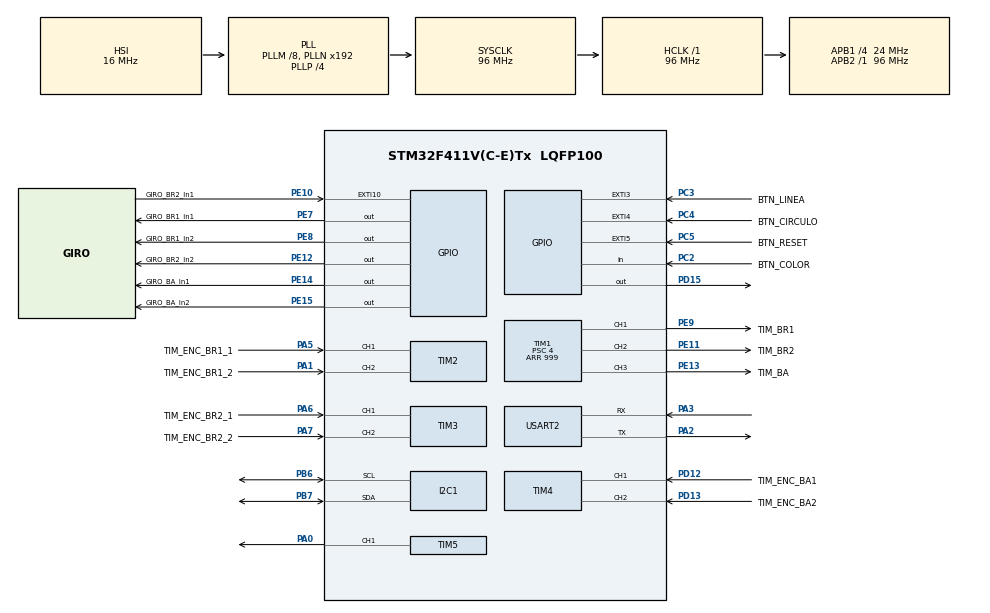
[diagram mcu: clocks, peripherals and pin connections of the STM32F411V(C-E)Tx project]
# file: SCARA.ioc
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Dma.Request0=USART2_TX
Dma.USART2_TX.0.Direction=DMA_MEMORY_TO_PERIPH
Dma.USART2_TX.0.FIFOMode=DMA_FIFOMODE_DISABLE
Dma.USART2_TX.0.Instance=DMA1_Stream6
Dma.USART2_TX.0.MemDataAlignment=DMA_MDATAALIGN_BYTE
Dma.USART2_TX.0.MemInc=DMA_MINC_ENABLE
Dma.USART2_TX.0.Mode=DMA_NORMAL
Dma.USART2_TX.0.PeriphDataAlignment=DMA_PDATAALIGN_BYTE
Dma.USART2_TX.0.PeriphInc=DMA_PINC_DISABLE
Dma.USART2_TX.0.Priority=DMA_PRIORITY_LOW
Mcu.Family=STM32F4
Mcu.Name=STM32F411V(C-E)Tx
Mcu.Package=LQFP100
NVIC.DMA1_Stream6_IRQn=true\:0\:0\:false\:false\:true\:false\:true\:true
NVIC.EXTI3_IRQn=true\:0\:0\:false\:false\:true\:true\:true\:true
NVIC.EXTI4_IRQn=true\:0\:0\:false\:false\:true\:true\:true\:true
NVIC.PriorityGroup=NVIC_PRIORITYGROUP_0
NVIC.TIM1_UP_TIM10_IRQn=true\:0\:0\:false\:false\:true\:true\:true\:true
NVIC.USART2_IRQn=true\:0\:0\:false\:false\:true\:true\:true\:true
PA0-WKUP.Signal=S_TIM5_CH1
PA1.GPIO_Label=TIM_ENC_BR1_2
PA1.Signal=S_TIM2_CH2
PA2.Mode=Asynchronous
PA2.Signal=USART2_TX
PA3.Mode=Asynchronous
PA3.Signal=USART2_RX
PA5.GPIO_Label=TIM_ENC_BR1_1
PA5.Signal=S_TIM2_CH1_ETR
PA6.GPIO_Label=TIM_ENC_BR2_1
PA6.Signal=S_TIM3_CH1
PA7.GPIO_Label=TIM_ENC_BR2_2
PA7.Signal=S_TIM3_CH2
PB6.Mode=I2C
PB6.Signal=I2C1_SCL
PB7.Mode=I2C
PB7.Signal=I2C1_SDA
PC2.GPIO_Label=BTN_COLOR
PC2.GPIO_PuPd=GPIO_PULLUP
PC2.Signal=GPIO_Input
PC3.GPIO_Label=BTN_LINEA
PC3.Signal=GPXTI3
PC4.GPIO_Label=BTN_CIRCULO
PC4.Signal=GPXTI4
PC5.GPIO_Label=BTN_RESET
PC5.Signal=GPXTI5
PD12.GPIO_Label=TIM_ENC_BA1
PD12.Signal=S_TIM4_CH1
PD13.GPIO_Label=TIM_ENC_BA2
PD13.Signal=S_TIM4_CH2
PD15.Signal=GPIO_Output
PE10.GPIO_Label=GIRO_BR2_In1
PE10.Signal=GPXTI10
PE11.GPIO_Label=TIM_BR2
PE11.Signal=S_TIM1_CH2
PE12.GPIO_Label=GIRO_BR2_In2
PE12.Signal=GPIO_Output
PE13.GPIO_Label=TIM_BA
PE13.Signal=S_TIM1_CH3
PE14.GPIO_Label=GIRO_BA_In1
PE14.Signal=GPIO_Output
PE15.GPIO_Label=GIRO_BA_In2
PE15.Signal=GPIO_Output
PE7.GPIO_Label=GIRO_BR1_In1
PE7.Signal=GPIO_Output
PE8.GPIO_Label=GIRO_BR1_In2
PE8.Signal=GPIO_Output
PE9.GPIO_Label=TIM_BR1
PE9.Signal=S_TIM1_CH1
ProjectManager.HeapSize=0x200
ProjectManager.StackSize=0x400
ProjectManager.TargetToolchain=STM32CubeIDE
RCC.48MHZClocksFreq_Value=48000000
RCC.AHBFreq_Value=96000000
RCC.APB1CLKDivider=RCC_HCLK_DIV4
RCC.APB1Freq_Value=24000000
RCC.APB1TimFreq_Value=48000000
RCC.APB2Freq_Value=96000000
RCC.APB2TimFreq_Value=96000000
RCC.CortexFreq_Value=96000000
RCC.HCLKFreq_Value=96000000
RCC.HSE_VALUE=8000000
RCC.HSI_VALUE=16000000
RCC.LSE_VALUE=32768
RCC.PLLI2SM=5
RCC.PLLI2SN=200
RCC.PLLM=8
RCC.PLLP=RCC_PLLP_DIV4
RCC.PLLQ=8
RCC.SYSCLKFreq_VALUE=96000000
RCC.SYSCLKSource=RCC_SYSCLKSOURCE_PLLCLK
RCC.VCOOutputFreq_Value=384000000
SH.S_TIM1_CH1.0=TIM1_CH1,PWM Generation1 CH1
SH.S_TIM1_CH2.0=TIM1_CH2,PWM Generation2 CH2
SH.S_TIM1_CH3.0=TIM1_CH3,PWM Generation3 CH3
SH.S_TIM2_CH1_ETR.0=TIM2_CH1,Encoder_Interface
SH.S_TIM2_CH2.0=TIM2_CH2,Encoder_Interface
SH.S_TIM3_CH1.0=TIM3_CH1,Encoder_Interface
SH.S_TIM3_CH2.0=TIM3_CH2,Encoder_Interface
SH.S_TIM4_CH1.0=TIM4_CH1,Encoder_Interface
SH.S_TIM4_CH2.0=TIM4_CH2,Encoder_Interface
SH.S_TIM5_CH1.0=TIM5_CH1,PWM Generation1 CH1
TIM1.Channel-PWM\ Generation1\ CH1=TIM_CHANNEL_1
TIM1.Channel-PWM\ Generation2\ CH2=TIM_CHANNEL_2
TIM1.Channel-PWM\ Generation3\ CH3=TIM_CHANNEL_3
TIM1.Period=999
TIM1.Prescaler=4
TIM5.Channel-PWM\ Generation1\ CH1=TIM_CHANNEL_1
TIM5.Period=19999
TIM5.Prescaler=47
USART2.VirtualMode=VM_ASYNC
board=STM32F411E-DISCO

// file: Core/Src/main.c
/* USER CODE BEGIN Header */
/**
  ******************************************************************************
  * @file           : main.c
  * @brief          : Main program body
  ******************************************************************************
  * @attention
  *
  * Copyright (c) 2026 STMicroelectronics.
  * All rights reserved.
  *
  * This software is licensed under terms that can be found in the LICENSE file
  * in the root directory of this software component.
  * If no LICENSE file comes with this software, it is provided AS-IS.
  *
  ******************************************************************************
  */
/* USER CODE END Header */
#include "main.h"

/* USER CODE BEGIN Includes */
#include "hri.h" // GESTIÓN DE PANTALLA Y BOTONES
#include "gripper.h" // CONTROL DEL SERVO Y SENSOR HALL
#include "motion.h"
#include "kinematics.h"

/* USER CODE END Includes */

/* USER CODE BEGIN PD */
#define LIENZO_CENTRO_X 150.0f
#define LIENZO_CENTRO_Y 0.0f
/* USER CODE END PD */

I2C_HandleTypeDef hi2c1;

TIM_HandleTypeDef htim1;
TIM_HandleTypeDef htim2;
TIM_HandleTypeDef htim3;
TIM_HandleTypeDef htim4;
TIM_HandleTypeDef htim5;

UART_HandleTypeDef huart2;
DMA_HandleTypeDef hdma_usart2_tx;

/* USER CODE BEGIN PV */
float q4_color_actual = 0.0f;
#define GRIPPER_STOP  1500
#define GRIPPER_SPEED 1650

PID_Controller pidJ1;
PID_Controller pidJ2;
PID_Controller pidZ;

uint32_t tiempoAnterior = 0;

// Variables externas de María - los objetivos que calcula la cinemática
extern volatile float objetivo_q1;
extern volatile float objetivo_q3;
extern volatile float objetivo_z;

/* USER CODE END PV */

void SystemClock_Config(void);
static void MX_GPIO_Init(void);
static void MX_DMA_Init(void);
static void MX_I2C1_Init(void);
static void MX_TIM1_Init(void);
static void MX_TIM2_Init(void);
static void MX_TIM3_Init(void);
static void MX_TIM4_Init(void);
static void MX_TIM5_Init(void);
static void MX_USART2_UART_Init(void);
/* USER CODE BEGIN PFP */
//int Leer_Botones_Accion(void);  //prototipos de funciones necesarias ??
//int Leer_Boton_Reset(void);
/* USER CODE END PFP */

int main(void)
{

  /* MCU Configuration--------------------------------------------------------*/

  /* Reset of all peripherals, Initializes the Flash interface and the Systick. */

  /* Configure the system clock */
  SystemClock_Config();

  /* Initialize all configured peripherals */
  MX_GPIO_Init();
  MX_DMA_Init();
  MX_I2C1_Init();
  MX_TIM1_Init();
  MX_TIM2_Init();
  MX_TIM3_Init();
  MX_TIM4_Init();
  MX_TIM5_Init();
  MX_USART2_UART_Init();
  /* USER CODE BEGIN 2 */

  //INICIALIZAR CADA J1,J2 y Z con sus respectivos valores de Kp, Ki, Kd, y umbral
    PID_Init(&pidJ1, 200.0f, 10.0f, 10.0f,  50.0f);  // kp mucho más alto
    PID_Init(&pidJ2, 150.0f, 10.0f,  5.0f,  50.0f);
    PID_Init(&pidZ,   50.0f,  5.0f,  2.0f,  30.0f); //z en mm

   // Arrancar los motores
         HAL_TIM_PWM_Start(&htim1, TIM_CHANNEL_1); // Enciende la base J1
         HAL_TIM_PWM_Start(&htim1, TIM_CHANNEL_2); // Enciende la traslacion del eje Z
         HAL_TIM_PWM_Start(&htim1, TIM_CHANNEL_3); //Enciente el codo J2

	 Homing();

	 tiempoAnterior = HAL_GetTick(); // Empezamos a contar el tiempo

	  HRI_Init();
	  Gripper_Init();
	  Encoders_Init();

  /* Calcular el q4 que deja el rotulador perpendicular al lienzo*/
	 q4_color_actual = IK_Calcular_q4_Perpendicular(LIENZO_CENTRO_X, LIENZO_CENTRO_Y);//CORRECCION A COMPROBAR PORQUE NO TENEMOS EL ANGULO DE COLOR
	 IK_Actualizar_Brazo_Efectivo (q4_color_actual);

  /* USER CODE END 2 */

  /* Infinite loop */
  /* USER CODE BEGIN WHILE */
  while (1)
  {
	  //calculo de dt, tiempo que ha pasado desde la ultima iteracion del bucle con respecto a la siguiente
	 	          uint32_t ahora = HAL_GetTick();
	 	          if ((ahora - tiempoAnterior) < 10) continue;  // espera sin bloquear
	 	          float dt = (ahora - tiempoAnterior) / 1000.0f;
	 	          tiempoAnterior = ahora;

	 	          //si, con la funcion de sofia, se ha pulsado el boton de reset, HOMING
	 	          if (Leer_Boton_Reset()==1){
	 	              Homing();
	 	          }

	 	          //Lectura de los sensores de los motores para las positicones actuales
	 	          //Devuelve radianes
	 	           float realJ1=(float)Leer_Pasos_Encoder(1) * PASOS_A_RAD;
	 	           float realJ2=(float)Leer_Pasos_Encoder(2)*PASOS_A_RAD;
	 	           float realZ=(float)Leer_Pasos_Encoder(3) * PASOS_A_MM;

	 	          //Actualizacion de los 3 motores

	 	         Update_Motor_Axis(&pidJ1, realJ1, objetivo_q1, dt, &htim1, TIM_CHANNEL_1, GPIOE, GPIO_PIN_7, GPIO_PIN_8);
	 	         Update_Motor_Axis(&pidJ2, realJ2, objetivo_q3, dt, &htim1, TIM_CHANNEL_2, GPIOE, GPIO_PIN_10, GPIO_PIN_12);
	 	         Update_Motor_Axis(&pidZ, realZ, objetivo_z, dt, &htim1, TIM_CHANNEL_3, GPIOE, GPIO_PIN_14, GPIO_PIN_15);

	 	          static uint32_t tiempoDebug = 0;  //variable local que dura durante todas las iteraciones gracias a statil

	 	          //bucle if para comprobar si han pasado 100ms desde el ultimo envio de datos, y si ya han pasado enviar datos a la funcion
	 	          if ((ahora - tiempoDebug) >= 100) {
	 	              tiempoDebug = ahora; //resetear cronometro para volver a contar hasta 100ms y enviar datos
	 	              //mandarr datos a la funcion para imprimir
	 	              Interfaz_enviar(
	 	                              realJ1, objetivo_q1, PID_GetVoltaje(&pidJ1),
	 	                              realJ2, objetivo_q3,  PID_GetVoltaje(&pidJ2),
	 	                              realZ, objetivo_z,  PID_GetVoltaje(&pidZ)
	 	                          );
	 	          }
	 	         // Un pequeño delay para que el bucle no sature el microcontrolador
	 	         	  HAL_Delay(10);

    /* USER CODE END WHILE */

    /* USER CODE BEGIN 3 */

	  HRI_Update();
	  Gripper_Update();    /* gestiona timeout del Hall */
  }
  /* USER CODE END 3 */
}

void SystemClock_Config(void)
{
  RCC_OscInitTypeDef RCC_OscInitStruct = {0};
  RCC_ClkInitTypeDef RCC_ClkInitStruct = {0};

  /** Configure the main internal regulator output voltage
  */
  __HAL_RCC_PWR_CLK_ENABLE();
  __HAL_PWR_VOLTAGESCALING_CONFIG(PWR_REGULATOR_VOLTAGE_SCALE1);

  /** Initializes the RCC Oscillators according to the specified parameters
  * in the RCC_OscInitTypeDef structure.
  */
  RCC_OscInitStruct.OscillatorType = RCC_OSCILLATORTYPE_HSI;
  RCC_OscInitStruct.HSIState = RCC_HSI_ON;
  RCC_OscInitStruct.HSICalibrationValue = RCC_HSICALIBRATION_DEFAULT;
  RCC_OscInitStruct.PLL.PLLState = RCC_PLL_ON;
  RCC_OscInitStruct.PLL.PLLSource = RCC_PLLSOURCE_HSI;
  RCC_OscInitStruct.PLL.PLLM = 8;
  RCC_OscInitStruct.PLL.PLLN = 192;
  RCC_OscInitStruct.PLL.PLLP = RCC_PLLP_DIV4;
  RCC_OscInitStruct.PLL.PLLQ = 8;
  if (HAL_RCC_OscConfig(&RCC_OscInitStruct) != HAL_OK)
  {
    Error_Handler();
  }

  /** Initializes the CPU, AHB and APB buses clocks
  */
  RCC_ClkInitStruct.ClockType = RCC_CLOCKTYPE_HCLK|RCC_CLOCKTYPE_SYSCLK
                              |RCC_CLOCKTYPE_PCLK1|RCC_CLOCKTYPE_PCLK2;
  RCC_ClkInitStruct.SYSCLKSource = RCC_SYSCLKSOURCE_PLLCLK;
  RCC_ClkInitStruct.AHBCLKDivider = RCC_SYSCLK_DIV1;
  RCC_ClkInitStruct.APB1CLKDivider = RCC_HCLK_DIV4;
  RCC_ClkInitStruct.APB2CLKDivider = RCC_HCLK_DIV1;

  if (HAL_RCC_ClockConfig(&RCC_ClkInitStruct, FLASH_LATENCY_3) != HAL_OK)
  {
    Error_Handler();
  }
}

static void MX_I2C1_Init(void)
{

  hi2c1.Instance = I2C1;
  hi2c1.Init.ClockSpeed = 100000;
  hi2c1.Init.DutyCycle = I2C_DUTYCYCLE_2;
  hi2c1.Init.OwnAddress1 = 0;
  hi2c1.Init.AddressingMode = I2C_ADDRESSINGMODE_7BIT;
  hi2c1.Init.DualAddressMode = I2C_DUALADDRESS_DISABLE;
  hi2c1.Init.OwnAddress2 = 0;
  hi2c1.Init.GeneralCallMode = I2C_GENERALCALL_DISABLE;
  hi2c1.Init.NoStretchMode = I2C_NOSTRETCH_DISABLE;
  if (HAL_I2C_Init(&hi2c1) != HAL_OK)
  {
    Error_Handler();
  }

}

static void MX_TIM1_Init(void)
{

  TIM_MasterConfigTypeDef sMasterConfig = {0};
  TIM_OC_InitTypeDef sConfigOC = {0};
  TIM_BreakDeadTimeConfigTypeDef sBreakDeadTimeConfig = {0};

  htim1.Instance = TIM1;
  htim1.Init.Prescaler = 4;
  htim1.Init.CounterMode = TIM_COUNTERMODE_UP;
  htim1.Init.Period = 999;
  htim1.Init.ClockDivision = TIM_CLOCKDIVISION_DIV1;
  htim1.Init.RepetitionCounter = 0;
  htim1.Init.AutoReloadPreload = TIM_AUTORELOAD_PRELOAD_DISABLE;
  if (HAL_TIM_PWM_Init(&htim1) != HAL_OK)
  {
    Error_Handler();
  }
  sMasterConfig.MasterOutputTrigger = TIM_TRGO_RESET;
  sMasterConfig.MasterSlaveMode = TIM_MASTERSLAVEMODE_DISABLE;
  if (HAL_TIMEx_MasterConfigSynchronization(&htim1, &sMasterConfig) != HAL_OK)
  {
    Error_Handler();
  }
  sConfigOC.OCMode = TIM_OCMODE_PWM1;
  sConfigOC.Pulse = 0;
  sConfigOC.OCPolarity = TIM_OCPOLARITY_HIGH;
  sConfigOC.OCNPolarity = TIM_OCNPOLARITY_HIGH;
  sConfigOC.OCFastMode = TIM_OCFAST_DISABLE;
  sConfigOC.OCIdleState = TIM_OCIDLESTATE_RESET;
  sConfigOC.OCNIdleState = TIM_OCNIDLESTATE_RESET;
  if (HAL_TIM_PWM_ConfigChannel(&htim1, &sConfigOC, TIM_CHANNEL_1) != HAL_OK)
  {
    Error_Handler();
  }
  if (HAL_TIM_PWM_ConfigChannel(&htim1, &sConfigOC, TIM_CHANNEL_2) != HAL_OK)
  {
    Error_Handler();
  }
  if (HAL_TIM_PWM_ConfigChannel(&htim1, &sConfigOC, TIM_CHANNEL_3) != HAL_OK)
  {
    Error_Handler();
  }
  sBreakDeadTimeConfig.OffStateRunMode = TIM_OSSR_DISABLE;
  sBreakDeadTimeConfig.OffStateIDLEMode = TIM_OSSI_DISABLE;
  sBreakDeadTimeConfig.LockLevel = TIM_LOCKLEVEL_OFF;
  sBreakDeadTimeConfig.DeadTime = 0;
  sBreakDeadTimeConfig.BreakState = TIM_BREAK_DISABLE;
  sBreakDeadTimeConfig.BreakPolarity = TIM_BREAKPOLARITY_HIGH;
  sBreakDeadTimeConfig.AutomaticOutput = TIM_AUTOMATICOUTPUT_DISABLE;
  if (HAL_TIMEx_ConfigBreakDeadTime(&htim1, &sBreakDeadTimeConfig) != HAL_OK)
  {
    Error_Handler();
  }
  HAL_TIM_MspPostInit(&htim1);

}

static void MX_TIM2_Init(void)
{

  TIM_Encoder_InitTypeDef sConfig = {0};
  TIM_MasterConfigTypeDef sMasterConfig = {0};

  htim2.Instance = TIM2;
  htim2.Init.Prescaler = 0;
  htim2.Init.CounterMode = TIM_COUNTERMODE_UP;
  htim2.Init.Period = 4294967295;
  htim2.Init.ClockDivision = TIM_CLOCKDIVISION_DIV1;
  htim2.Init.AutoReloadPreload = TIM_AUTORELOAD_PRELOAD_DISABLE;
  sConfig.EncoderMode = TIM_ENCODERMODE_TI1;
  sConfig.IC1Polarity = TIM_ICPOLARITY_RISING;
  sConfig.IC1Selection = TIM_ICSELECTION_DIRECTTI;
  sConfig.IC1Prescaler = TIM_ICPSC_DIV1;
  sConfig.IC1Filter = 0;
  sConfig.IC2Polarity = TIM_ICPOLARITY_RISING;
  sConfig.IC2Selection = TIM_ICSELECTION_DIRECTTI;
  sConfig.IC2Prescaler = TIM_ICPSC_DIV1;
  sConfig.IC2Filter = 0;
  if (HAL_TIM_Encoder_Init(&htim2, &sConfig) != HAL_OK)
  {
    Error_Handler();
  }
  sMasterConfig.MasterOutputTrigger = TIM_TRGO_RESET;
  sMasterConfig.MasterSlaveMode = TIM_MASTERSLAVEMODE_DISABLE;
  if (HAL_TIMEx_MasterConfigSynchronization(&htim2, &sMasterConfig) != HAL_OK)
  {
    Error_Handler();
  }

}

static void MX_TIM3_Init(void)
{

  TIM_Encoder_InitTypeDef sConfig = {0};
  TIM_MasterConfigTypeDef sMasterConfig = {0};

  htim3.Instance = TIM3;
  htim3.Init.Prescaler = 0;
  htim3.Init.CounterMode = TIM_COUNTERMODE_UP;
  htim3.Init.Period = 65535;
  htim3.Init.ClockDivision = TIM_CLOCKDIVISION_DIV1;
  htim3.Init.AutoReloadPreload = TIM_AUTORELOAD_PRELOAD_DISABLE;
  sConfig.EncoderMode = TIM_ENCODERMODE_TI1;
  sConfig.IC1Polarity = TIM_ICPOLARITY_RISING;
  sConfig.IC1Selection = TIM_ICSELECTION_DIRECTTI;
  sConfig.IC1Prescaler = TIM_ICPSC_DIV1;
  sConfig.IC1Filter = 0;
  sConfig.IC2Polarity = TIM_ICPOLARITY_RISING;
  sConfig.IC2Selection = TIM_ICSELECTION_DIRECTTI;
  sConfig.IC2Prescaler = TIM_ICPSC_DIV1;
  sConfig.IC2Filter = 0;
  if (HAL_TIM_Encoder_Init(&htim3, &sConfig) != HAL_OK)
  {
    Error_Handler();
  }
  sMasterConfig.MasterOutputTrigger = TIM_TRGO_RESET;
  sMasterConfig.MasterSlaveMode = TIM_MASTERSLAVEMODE_DISABLE;
  if (HAL_TIMEx_MasterConfigSynchronization(&htim3, &sMasterConfig) != HAL_OK)
  {
    Error_Handler();
  }

}

static void MX_TIM4_Init(void)
{

  TIM_Encoder_InitTypeDef sConfig = {0};
  TIM_MasterConfigTypeDef sMasterConfig = {0};

  htim4.Instance = TIM4;
  htim4.Init.Prescaler = 0;
  htim4.Init.CounterMode = TIM_COUNTERMODE_UP;
  htim4.Init.Period = 65535;
  htim4.Init.ClockDivision = TIM_CLOCKDIVISION_DIV1;
  htim4.Init.AutoReloadPreload = TIM_AUTORELOAD_PRELOAD_DISABLE;
  sConfig.EncoderMode = TIM_ENCODERMODE_TI1;
  sConfig.IC1Polarity = TIM_ICPOLARITY_RISING;
  sConfig.IC1Selection = TIM_ICSELECTION_DIRECTTI;
  sConfig.IC1Prescaler = TIM_ICPSC_DIV1;
  sConfig.IC1Filter = 0;
  sConfig.IC2Polarity = TIM_ICPOLARITY_RISING;
  sConfig.IC2Selection = TIM_ICSELECTION_DIRECTTI;
  sConfig.IC2Prescaler = TIM_ICPSC_DIV1;
  sConfig.IC2Filter = 0;
  if (HAL_TIM_Encoder_Init(&htim4, &sConfig) != HAL_OK)
  {
    Error_Handler();
  }
  sMasterConfig.MasterOutputTrigger = TIM_TRGO_RESET;
  sMasterConfig.MasterSlaveMode = TIM_MASTERSLAVEMODE_DISABLE;
  if (HAL_TIMEx_MasterConfigSynchronization(&htim4, &sMasterConfig) != HAL_OK)
  {
    Error_Handler();
  }

}

static void MX_TIM5_Init(void)
{

  TIM_MasterConfigTypeDef sMasterConfig = {0};
  TIM_OC_InitTypeDef sConfigOC = {0};

  htim5.Instance = TIM5;
  htim5.Init.Prescaler = 47;
  htim5.Init.CounterMode = TIM_COUNTERMODE_UP;
  htim5.Init.Period = 19999;
  htim5.Init.ClockDivision = TIM_CLOCKDIVISION_DIV1;
  htim5.Init.AutoReloadPreload = TIM_AUTORELOAD_PRELOAD_DISABLE;
  if (HAL_TIM_PWM_Init(&htim5) != HAL_OK)
  {
    Error_Handler();
  }
  sMasterConfig.MasterOutputTrigger = TIM_TRGO_RESET;
  sMasterConfig.MasterSlaveMode = TIM_MASTERSLAVEMODE_DISABLE;
  if (HAL_TIMEx_MasterConfigSynchronization(&htim5, &sMasterConfig) != HAL_OK)
  {
    Error_Handler();
  }
  sConfigOC.OCMode = TIM_OCMODE_PWM1;
  sConfigOC.Pulse = 0;
  sConfigOC.OCPolarity = TIM_OCPOLARITY_HIGH;
  sConfigOC.OCFastMode = TIM_OCFAST_DISABLE;
  if (HAL_TIM_PWM_ConfigChannel(&htim5, &sConfigOC, TIM_CHANNEL_1) != HAL_OK)
  {
    Error_Handler();
  }
  HAL_TIM_MspPostInit(&htim5);

}

static void MX_USART2_UART_Init(void)
{

  huart2.Instance = USART2;
  huart2.Init.BaudRate = 115200;
  huart2.Init.WordLength = UART_WORDLENGTH_8B;
  huart2.Init.StopBits = UART_STOPBITS_1;
  huart2.Init.Parity = UART_PARITY_NONE;
  huart2.Init.Mode = UART_MODE_TX_RX;
  huart2.Init.HwFlowCtl = UART_HWCONTROL_NONE;
  huart2.Init.OverSampling = UART_OVERSAMPLING_16;
  if (HAL_UART_Init(&huart2) != HAL_OK)
  {
    Error_Handler();
  }

}

static void MX_DMA_Init(void)
{

  /* DMA controller clock enable */
  __HAL_RCC_DMA1_CLK_ENABLE();

  /* DMA interrupt init */
  /* DMA1_Stream6_IRQn interrupt configuration */
  HAL_NVIC_SetPriority(DMA1_Stream6_IRQn, 0, 0);
  HAL_NVIC_EnableIRQ(DMA1_Stream6_IRQn);

}

static void MX_GPIO_Init(void)
{
  GPIO_InitTypeDef GPIO_InitStruct = {0};

  /* GPIO Ports Clock Enable */
  __HAL_RCC_GPIOC_CLK_ENABLE();
  __HAL_RCC_GPIOA_CLK_ENABLE();
  __HAL_RCC_GPIOE_CLK_ENABLE();
  __HAL_RCC_GPIOD_CLK_ENABLE();
  __HAL_RCC_GPIOB_CLK_ENABLE();

  /*Configure GPIO pin Output Level */
  HAL_GPIO_WritePin(GPIOE, GIRO_BR1_In1_Pin|GIRO_BR1_In2_Pin|GIRO_BR2_In2_Pin|GIRO_BA_In1_Pin
                          |GIRO_BA_In2_Pin, GPIO_PIN_RESET);

  /*Configure GPIO pin Output Level */
  HAL_GPIO_WritePin(GPIOD, GPIO_PIN_15, GPIO_PIN_RESET);

  /*Configure GPIO pin : BTN_COLOR_Pin */
  GPIO_InitStruct.Pin = BTN_COLOR_Pin;
  GPIO_InitStruct.Mode = GPIO_MODE_INPUT;
  GPIO_InitStruct.Pull = GPIO_PULLUP;
  HAL_GPIO_Init(BTN_COLOR_GPIO_Port, &GPIO_InitStruct);

  /*Configure GPIO pins : BTN_LINEA_Pin BTN_CIRCULO_Pin BTN_RESET_Pin */
  GPIO_InitStruct.Pin = BTN_LINEA_Pin|BTN_CIRCULO_Pin|BTN_RESET_Pin;
  GPIO_InitStruct.Mode = GPIO_MODE_IT_RISING;
  GPIO_InitStruct.Pull = GPIO_NOPULL;
  HAL_GPIO_Init(GPIOC, &GPIO_InitStruct);

  /*Configure GPIO pins : GIRO_BR1_In1_Pin GIRO_BR1_In2_Pin GIRO_BR2_In2_Pin GIRO_BA_In1_Pin
                           GIRO_BA_In2_Pin */
  GPIO_InitStruct.Pin = GIRO_BR1_In1_Pin|GIRO_BR1_In2_Pin|GIRO_BR2_In2_Pin|GIRO_BA_In1_Pin
                          |GIRO_BA_In2_Pin;
  GPIO_InitStruct.Mode = GPIO_MODE_OUTPUT_PP;
  GPIO_InitStruct.Pull = GPIO_NOPULL;
  GPIO_InitStruct.Speed = GPIO_SPEED_FREQ_LOW;
  HAL_GPIO_Init(GPIOE, &GPIO_InitStruct);

  /*Configure GPIO pin : GIRO_BR2_In1_Pin */
  GPIO_InitStruct.Pin = GIRO_BR2_In1_Pin;
  GPIO_InitStruct.Mode = GPIO_MODE_IT_RISING;
  GPIO_InitStruct.Pull = GPIO_NOPULL;
  HAL_GPIO_Init(GIRO_BR2_In1_GPIO_Port, &GPIO_InitStruct);

  /*Configure GPIO pin : PD15 */
  GPIO_InitStruct.Pin = GPIO_PIN_15;
  GPIO_InitStruct.Mode = GPIO_MODE_OUTPUT_PP;
  GPIO_InitStruct.Pull = GPIO_NOPULL;
  GPIO_InitStruct.Speed = GPIO_SPEED_FREQ_LOW;
  HAL_GPIO_Init(GPIOD, &GPIO_InitStruct);

  /* EXTI interrupt init*/
  HAL_NVIC_SetPriority(EXTI3_IRQn, 0, 0);
  HAL_NVIC_EnableIRQ(EXTI3_IRQn);

  HAL_NVIC_SetPriority(EXTI4_IRQn, 0, 0);
  HAL_NVIC_EnableIRQ(EXTI4_IRQn);

}

void Error_Handler(void)
{
  __disable_irq();
  while (1)
  {
  }
}
